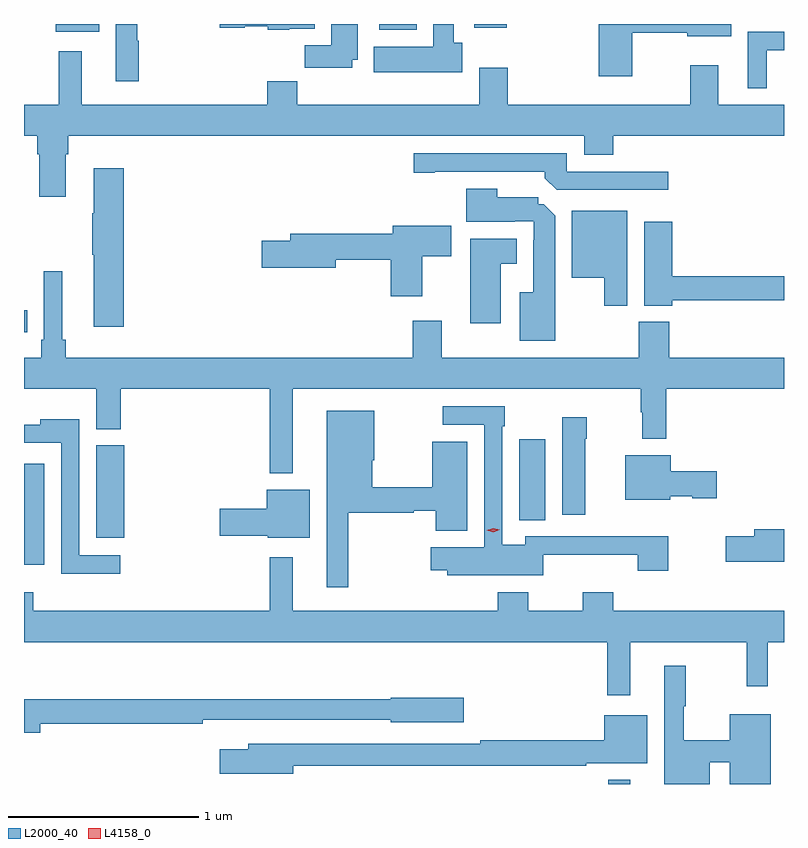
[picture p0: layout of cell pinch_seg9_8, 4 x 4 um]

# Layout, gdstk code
import gdstk
lib = gdstk.Library(unit=1e-6, precision=1e-09)
def R(c, l, rs):  # rectangles x0, y0, x1, y1
    for r in rs: c.add(gdstk.rectangle(r[:2], r[2:], *l))
def P(c, l, *ps):  # polygons
    for p in ps: c.add(gdstk.Polygon(p, *l))
L2000_40 = (2000, 40)
L4158_0 = (4158, 0)

pinch_seg9_8 = lib.new_cell('pinch_seg9_8')
R(pinch_seg9_8, L2000_40, [(1046.502,1231.637,1046.617,1231.66), (1043.426,1232.79,1043.533,1233.322), (1043.807,1232.934,1043.954,1233.42), (1046.033,1233.025,1046.17,1233.451), (1043.426,1234.014,1043.444,1234.13), (1043.594,1235.597,1043.821,1235.637), (1045.295,1235.606,1045.492,1235.637), (1045.796,1235.616,1045.967,1235.637)])
P(pinch_seg9_8, L2000_40, [(1045.153,1235.45),(1045.183,1235.45),(1045.183,1235.637),(1045.043,1235.637),(1045.043,1235.524),(1044.904,1235.524),(1044.904,1235.406),(1045.153,1235.406)],
  [(1044.822,1235.612),(1044.955,1235.612),(1044.955,1235.637),(1044.456,1235.637),(1044.456,1235.617),(1044.588,1235.617),(1044.588,1235.624),(1044.708,1235.624),(1044.708,1235.606),(1044.822,1235.606)],
  [(1044.031,1235.549),(1044.023,1235.549),(1044.023,1235.637),(1043.909,1235.637),(1043.909,1235.337),(1044.031,1235.337)],
  [(1045.732,1235.538),(1045.687,1235.538),(1045.687,1235.637),(1045.58,1235.637),(1045.58,1235.518),(1045.268,1235.518),(1045.268,1235.384),(1045.732,1235.384)],
  [(1046.628,1235.592),(1046.918,1235.592),(1046.918,1235.573),(1047.148,1235.573),(1047.148,1235.637),(1046.45,1235.637),(1046.45,1235.361),(1046.628,1235.361)],
  [(1047.334,1235.499),(1047.426,1235.499),(1047.426,1235.595),(1047.236,1235.595),(1047.236,1235.298),(1047.334,1235.298)],
  [(1043.647,1234.952),(1043.66,1234.952),(1043.66,1235.048),(1046.375,1235.048),(1046.375,1234.949),(1046.528,1234.949),(1046.528,1235.048),(1047.426,1235.048),(1047.426,1235.212),(1047.079,1235.212),(1047.079,1235.419),(1046.932,1235.419),(1046.932,1235.212),(1045.971,1235.212),(1045.971,1235.407),(1045.823,1235.407),(1045.823,1235.212),(1044.863,1235.212),(1044.863,1235.336),(1044.707,1235.336),(1044.707,1235.212),(1043.731,1235.212),(1043.731,1235.494),(1043.61,1235.494),(1043.61,1235.212),(1043.426,1235.212),(1043.426,1235.048),(1043.495,1235.048),(1043.495,1234.952),(1043.507,1234.952),(1043.507,1234.728),(1043.647,1234.728)],
  [(1046.818,1234.86),(1046.283,1234.86),(1046.283,1234.956),(1045.476,1234.956),(1045.476,1234.855),(1045.588,1234.855),(1045.588,1234.86),(1046.168,1234.86),(1046.168,1234.826),(1046.229,1234.764),(1046.818,1234.764)],
  [(1043.951,1234.879),(1043.792,1234.879),(1043.792,1234.64),(1043.785,1234.64),(1043.785,1234.423),(1043.792,1234.423),(1043.792,1234.044),(1043.951,1234.044)],
  [(1046.221,1234.629),(1046.161,1234.689),(1046.133,1234.689),(1046.133,1234.726),(1045.918,1234.726),(1045.918,1234.771),(1045.754,1234.771),(1045.754,1234.595),(1046.009,1234.595),(1046.009,1234.599),(1046.109,1234.599),(1046.109,1234.499),(1046.105,1234.499),(1046.105,1234.225),(1046.036,1234.225),(1046.036,1233.971),(1046.221,1233.971)],
  [(1046.602,1234.654),(1046.309,1234.654),(1046.309,1234.301),(1046.48,1234.301),(1046.48,1234.155),(1046.602,1234.155)],
  [(1046.837,1234.182),(1047.426,1234.182),(1047.426,1234.31),(1046.837,1234.31),(1046.837,1234.597),(1046.69,1234.597),(1046.69,1234.154),(1046.837,1234.154)],
  [(1045.522,1234.414),(1045.675,1234.414),(1045.675,1234.576),(1045.367,1234.576),(1045.367,1234.532),(1044.827,1234.532),(1044.827,1234.496),(1044.678,1234.496),(1044.678,1234.354),(1045.066,1234.354),(1045.066,1234.396),(1045.355,1234.396),(1045.355,1234.203),(1045.522,1234.203)],
  [(1045.936,1234.376),(1046.02,1234.376),(1046.02,1234.507),(1045.775,1234.507),(1045.775,1234.062),(1045.936,1234.062)],
  [(1044.841,1233.716),(1046.671,1233.716),(1046.671,1233.593),(1046.679,1233.593),(1046.679,1233.453),(1046.807,1233.453),(1046.807,1233.716),(1047.426,1233.716),(1047.426,1233.88),(1046.822,1233.88),(1046.822,1234.069),(1046.662,1234.069),(1046.662,1233.88),(1045.624,1233.88),(1045.624,1234.075),(1045.472,1234.075),(1045.472,1233.88),(1043.645,1233.88),(1043.645,1233.976),(1043.626,1233.976),(1043.626,1234.336),(1043.529,1234.336),(1043.529,1233.976),(1043.516,1233.976),(1043.516,1233.88),(1043.426,1233.88),(1043.426,1233.716),(1043.807,1233.716),(1043.807,1233.505),(1043.936,1233.505),(1043.936,1233.716),(1044.72,1233.716),(1044.72,1233.272),(1044.841,1233.272)],
  [(1046.16,1232.843),(1046.657,1232.843),(1046.657,1232.76),(1046.817,1232.76),(1046.817,1232.942),(1046.573,1232.942),(1046.573,1232.94),(1046.064,1232.94),(1046.064,1232.896),(1045.944,1232.896),(1045.944,1233.521),(1045.957,1233.521),(1045.957,1233.624),(1045.629,1233.624),(1045.629,1233.528),(1045.848,1233.528),(1045.848,1232.884),(1045.566,1232.884),(1045.566,1232.762),(1045.653,1232.762),(1045.653,1232.735),(1046.16,1232.735)],
  [(1045.133,1233.064),(1045.478,1233.064),(1045.478,1233.075),(1045.592,1233.075),(1045.592,1232.969),(1045.759,1232.969),(1045.759,1233.439),(1045.574,1233.439),(1045.574,1233.2),(1045.258,1233.2),(1045.258,1233.342),(1045.27,1233.342),(1045.27,1233.601),(1045.019,1233.601),(1045.019,1232.673),(1045.133,1232.673)],
  [(1046.38,1233.455),(1046.388,1233.455),(1046.388,1233.568),(1046.258,1233.568),(1046.258,1233.054),(1046.38,1233.054)],
  [(1043.932,1232.841),(1043.718,1232.841),(1043.718,1233.556),(1043.511,1233.556),(1043.511,1233.528),(1043.426,1233.528),(1043.426,1233.432),(1043.622,1233.432),(1043.622,1232.744),(1043.932,1232.744)],
  [(1046.826,1233.152),(1046.943,1233.152),(1046.943,1233.14),(1047.073,1233.14),(1047.073,1233.282),(1046.83,1233.282),(1046.83,1233.367),(1046.591,1233.367),(1046.591,1233.134),(1046.826,1233.134)],
  [(1044.931,1233.187),(1044.704,1233.187),(1044.704,1233.086),(1044.456,1233.086),(1044.456,1232.944),(1044.708,1232.944),(1044.708,1232.933),(1044.931,1232.933)],
  [(1047.426,1232.978),(1047.269,1232.978),(1047.269,1232.942),(1047.12,1232.942),(1047.12,1232.807),(1047.426,1232.807)],
  [(1046.617,1232.384),(1047.231,1232.384),(1047.231,1232.151),(1047.341,1232.151),(1047.341,1232.384),(1047.426,1232.384),(1047.426,1232.548),(1046.528,1232.548),(1046.528,1232.647),(1046.368,1232.647),(1046.368,1232.548),(1046.079,1232.548),(1046.079,1232.647),(1045.919,1232.647),(1045.919,1232.548),(1044.841,1232.548),(1044.841,1232.83),(1044.72,1232.83),(1044.72,1232.548),(1043.474,1232.548),(1043.474,1232.647),(1043.426,1232.647),(1043.426,1232.384),(1046.496,1232.384),(1046.496,1232.103),(1046.617,1232.103)],
  [(1047.034,1231.751),(1047.14,1231.751),(1047.14,1231.637),(1047.355,1231.637),(1047.355,1232.005),(1047.14,1232.005),(1047.14,1231.868),(1046.899,1231.868),(1046.899,1232.046),(1046.909,1232.046),(1046.909,1232.26),(1046.795,1232.26),(1046.795,1231.637),(1047.034,1231.637)],
  [(1043.512,1231.954),(1044.368,1231.954),(1044.368,1231.974),(1045.356,1231.974),(1045.356,1231.961),(1045.741,1231.961),(1045.741,1232.091),(1045.356,1232.091),(1045.356,1232.083),(1043.426,1232.083),(1043.426,1231.907),(1043.512,1231.907)],
  [(1044.844,1231.732),(1046.384,1231.732),(1046.384,1231.745),(1046.707,1231.745),(1046.707,1231.999),(1046.48,1231.999),(1046.48,1231.868),(1045.828,1231.868),(1045.828,1231.848),(1044.605,1231.848),(1044.605,1231.819),(1044.456,1231.819),(1044.456,1231.69),(1044.844,1231.69)])
P(pinch_seg9_8, L4158_0, [(1045.896,1232.963),(1045.862,1232.972),(1045.861,1232.973),(1045.862,1232.973),(1045.896,1232.983),(1045.931,1232.974),(1045.931,1232.974),(1045.931,1232.974)])

lib.write_gds('pinch_seg9_8.gds')
